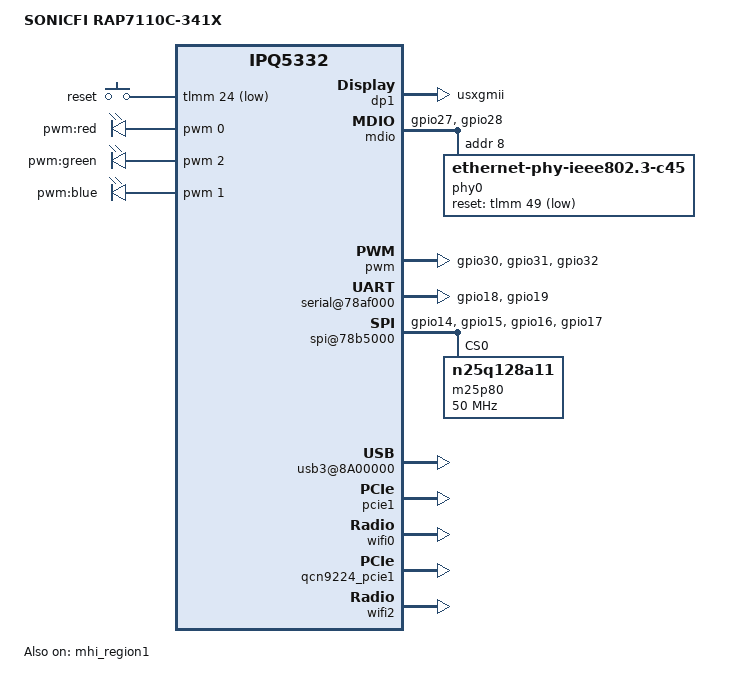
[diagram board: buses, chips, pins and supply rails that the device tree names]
// SPDX-License-Identifier: (GPL-2.0+ OR BSD-3-Clause)
/*
 * IPQ5332 AP-MI01.6 board device tree source
 *
 * Copyright (c) 2020-2021 The Linux Foundation. All rights reserved.
 * Copyright (c) 2022 Qualcomm Innovation Center, Inc. All rights reserved.
 */

/dts-v1/;

#include "ipq5332.dtsi"

#ifdef __IPQ_MEM_PROFILE_512_MB__
#include "ipq5332-512MB-memory.dtsi"
#else
#include "ipq5332-default-memory.dtsi"
#endif

/ {
	#address-cells = <0x2>;
	#size-cells = <0x2>;
	model = "SONICFI RAP7110C-341X";
	compatible = "sonicfi,rap7110c-341x","qcom,ipq5332-ap-mi01.6", "qcom,ipq5332";
	interrupt-parent = <&intc>;

	aliases {
		serial0 = &blsp1_uart0;
		ethernet0 = "/soc/dp1";
		led-boot = &led_power;
	};

	chosen {
		stdout-path = "serial0";
	};

	soc {
		pinctrl@1000000 {
			spi_0_pins: spi0-pinmux {
				spi_clock {
					pins = "gpio14";
					function = "blsp0_spi";
					drive-strength = <2>;
					bias-pull-down;
				};

				spi_mosi {
					pins = "gpio15";
					function = "blsp0_spi";
					drive-strength = <2>;
					bias-pull-down;
				};

				spi_miso {
					pins = "gpio16";
					function = "blsp0_spi";
					drive-strength = <2>;
					bias-pull-down;
				};

				spi_cs {
					pins = "gpio17";
					function = "blsp0_spi";
					drive-strength = <2>;
					bias-pull-up;
				};
			};

			serial_0_pins: serial0-pinmux {
				pins = "gpio18", "gpio19";
				function = "blsp0_uart0";
				drive-strength = <8>;
				bias-pull-up;
			};

			pwm_pins: pwm_pinmux {
/* PWM LED GREEN */
				mux_1 {
					pins = "gpio30";
					function = "pwm1";
					drive-strength = <8>;
				};
/* PWM LED BLUE */
				mux_2 {
					pins = "gpio31";
					function = "pwm1";
					drive-strength = <8>;
				};
/* PWM LED RED */
				mux_3 {
					pins = "gpio32";
					function = "pwm1";
					drive-strength = <8>;
				};
			};

			mdio1_pins: mdio1_pinmux {
				mux_0 {
					pins = "gpio27";
					function = "mdc1";
					drive-strength = <8>;
					bias-disable;
				};
				mux_1 {
					pins = "gpio28";
					function = "mdio1";
					drive-strength = <8>;
					bias-pull-up;
				};
			};

			button_pins: button_pins {
				reset_button {
					pins = "gpio24";
					function = "gpio";
					drive-strength = <8>;
					bias-pull-up;
				};
			};
		};

		dp1 {
			device_type = "network";
			compatible = "qcom,nss-dp";
			qcom,id = <1>;
			reg = <0x3a500000 0x4000>;
			qcom,mactype = <1>;
			local-mac-address = [000000000000];
			qcom,phy-mdio-addr = <8>;
			qcom,link-poll = <1>;
			phy-mode = "usxgmii";
		};

		mdio:mdio@90000 {
			status = "ok";
			pinctrl-0 = <&mdio1_pins >;
			pinctrl-names = "default";
			/*gpio49 for RTL8261 reset*/
			phy-reset-gpio = <&tlmm 49 0>;
			phyaddr_fixup = <0xC90F018>;
			uniphyaddr_fixup = <0xC90F014>;
			mdio_clk_fixup; /* MDIO clock sequence fix up flag */

			phy0: ethernet-phy@0 {
				compatible ="ethernet-phy-ieee802.3-c45";
				reset-gpios = <&tlmm 49 GPIO_ACTIVE_LOW>;
				reg = <8>;
			};
		};

		pwm:pwm {
			compatible = "qti,ipq5332-pwm";
			reg = <0x1941010 0x20>;
			clocks = <&gcc GCC_ADSS_PWM_CLK>;
			clock-names = "core";
			src-freq = <100000000>;
			pwm-base-index = <0>;
			used-pwm-indices = <1>, <1>, <1>, <0>;
			status = "ok";
			pinctrl-0 = <&pwm_pins>;
			pinctrl-names = "default";
			#pwm-cells = <2>;
		};

		ess-instance {
			num_devices = <0x1>;
			ess-switch@3a000000 {
				switch_cpu_bmp = <0x1>;  /* cpu port bitmap */
				switch_lan_bmp = <0x2>; /* lan port bitmap */
				switch_wan_bmp = <0x4>; /* wan port bitmap */
				switch_mac_mode = <0xd>; /* mac mode for uniphy instance0*/
				switch_mac_mode1 = <0xf>; /* mac mode for uniphy instance1*/
				switch_mac_mode2 = <0xff>; /* mac mode for uniphy instance2*/
				qcom,port_phyinfo {
					port@0 {
						port_id = <1>;
						phy_address = <8>;
						mdiobus = <&mdio>;
						ethernet-phy-ieee802.3-c45;
					};
					port@1 {
						port_id = <2>;
						forced-speed = <2500>;
						forced-duplex = <1>;
					};
				};
			};
		};

		/* EDMA host driver configuration for the board */
		edma@3ab00000 {
			qcom,txdesc-ring-start = <4>;		/* Tx desc ring start ID */
			qcom,txdesc-rings = <12>;		/* Total number of Tx desc rings to be provisioned */
			qcom,txcmpl-ring-start = <4>;		/* Tx complete ring start ID */
			qcom,txcmpl-rings = <12>;		/* Total number of Tx complete rings to be provisioned */
			qcom,rxfill-ring-start = <4>;		/* Rx fill ring start ID */
			qcom,rxfill-rings = <4>;		/* Total number of Rx fill rings to be provisioned */
			qcom,rxdesc-ring-start = <12>;		/* Rx desc ring start ID */
			qcom,rxdesc-rings = <4>;		/* Total number of Rx desc rings to be provisioned */
			qcom,rx-page-mode = <0>;		/* Rx fill ring page mode */
			qcom,tx-map-priority-level = <1>;	/* Tx priority level per port */
			qcom,rx-map-priority-level = <1>;	/* Rx priority level per core */
			qcom,ppeds-num = <2>;			/* Number of PPEDS nodes */
			/* PPE-DS node format: <Rx-fill Tx-cmpl Rx Tx Queue-base Queue-count> */
			qcom,ppeds-map = <1 1 1 1 32 8>,	/* PPEDS Node#0 ring and queue map */
					<2 2 2 2 40 8>;		/* PPEDS Node#1 ring and queue map */
			qcom,txdesc-map = <8 9 10 11>,		/* Port0 per-core Tx ring map */
					  <12 13 14 15>,	/* Port1 per-core Tx ring map */
					  <4 5 6 7>;		/* used only for packets from  vp*/
			qcom,txdesc-fc-grp-map = <1 2>;		/* Per GMAC flow control group map */
			qcom,rxfill-map = <4 5 6 7>;		/* Per-core Rx fill ring map */
			qcom,rxdesc-map = <12 13 14 15>;	/* Per-core Rx desc ring map */
			qcom,rx-queue-start = <0>;		/* Rx queue start */
			qcom,rx-ring-queue-map = <0 8 16 24>,	/* Priority 0 queues per-core Rx ring map */
						<1 9 17 25>,	/* Priority 1 queues per-core Rx ring map */
						<2 10 18 26>,	/* Priority 2 queues per-core Rx ring map */
						<3 11 19 27>,	/* Priority 3 queues per-core Rx ring map */
						<4 12 20 28>,	/* Priority 4 queues per-core Rx ring map */
						<5 13 21 29>,	/* Priority 5 queues per-core Rx ring map */
						<6 14 22 30>,	/* Priority 6 queues per-core Rx ring map */
						<7 15 23 31>;	/* Priority 7 queues per-core Rx ring map */
			interrupts = <0 163 4>,			/* Tx complete ring id #4 IRQ info */
				   <0 164 4>,			/* Tx complete ring id #5 IRQ info */
				   <0 165 4>,			/* Tx complete ring id #6 IRQ info */
				   <0 166 4>,			/* Tx complete ring id #7 IRQ info */
				   <0 167 4>,			/* Tx complete ring id #8 IRQ info */
				   <0 168 4>,			/* Tx complete ring id #9 IRQ info */
				   <0 169 4>,			/* Tx complete ring id #10 IRQ info */
				   <0 170 4>,			/* Tx complete ring id #11 IRQ info */
				   <0 171 4>,			/* Tx complete ring id #12 IRQ info */
				   <0 172 4>,			/* Tx complete ring id #13 IRQ info */
				   <0 173 4>,			/* Tx complete ring id #14 IRQ info */
				   <0 174 4>,			/* Tx complete ring id #15 IRQ info */
				   <0 139 4>,			/* Rx desc ring id #12 IRQ info */
				   <0 140 4>,			/* Rx desc ring id #13 IRQ info */
				   <0 141 4>,			/* Rx desc ring id #14 IRQ info */
				   <0 142 4>,			/* Rx desc ring id #15 IRQ info */
				   <0 191 4>,			/* Misc error IRQ info */
				<0 160 4>,			/* PPEDS Node #1(TxComp ring id #1) TxComplete IRQ info */
				<0 128 4>,			/* PPEDS Node #1(Rx Desc ring id #1) Rx Desc IRQ info */
				<0 152 4>,			/* PPEDS Node #1(RxFill Desc ring id #1) Rx Fill IRQ info */
				<0 161 4>,			/* PPEDS Node #2(TxComp ring id #2) TxComplete IRQ info */
				<0 129 4>,			/* PPEDS Node #2(Rx Desc ring id #2) Rx Desc IRQ info */
				<0 153 4>;			/* PPEDS Node #2(RxFill Desc ring id #2) Rx Fill IRQ info */
		};

		serial@78af000 {
			pinctrl-0 = <&serial_0_pins>;
			pinctrl-names = "default";
			status = "ok";
		};
/*
		serial@78b0000 {
			pinctrl-0 = <&serial_1_pins>;
			pinctrl-names = "default";
			status = "disabled";
		};
*/

		spi@78b5000 {
			pinctrl-0 = <&spi_0_pins>;
			pinctrl-names = "default";
			cs-select = <0>;
			status = "ok";

			m25p80@0 {
				compatible = "n25q128a11";
				#address-cells = <1>;
				#size-cells = <1>;
				reg = <0>;
				spi-max-frequency = <50000000>;
			};
		};

		dma@7984000 {
			status = "ok";
		};

		nand: nand@79b0000 {
			pinctrl-0 = <&qspi_nand_pins>;
			pinctrl-names = "default";
			status = "disabled";
		};

		usb3@8A00000 {
			status = "ok";
			qcom,multiplexed-phy;
		};

		ssuniphy_0: ssuniphy@4b0000 {
			status = "ok";
		};

		hs_m31phy_0: hs_m31phy@7b000 {
			status = "ok";
		};

		gpio_keys {
			compatible = "gpio-keys";
			pinctrl-0 = <&button_pins>;
			pinctrl-names = "default";
			button@1 {
				label = "reset";
				linux,code = <KEY_RESTART>;
				gpios = <&tlmm 24 GPIO_ACTIVE_LOW>;
				linux,input-type = <1>;
				debounce-interval = <60>;
			};
		};

		pwmleds {
			compatible = "pwm-leds";

			red {
				label = "pwm:red";
				pwms = <&pwm 0 1250000>;
				max-brightness = <160>;
				linux,default-trigger = "none";
			};

			green {
				label = "pwm:green";
				pwms = <&pwm 2 1250000>;
				max-brightness = <160>;
				linux,default-trigger = "none";
			};

			led_power: blue {
				label = "pwm:blue";
				pwms = <&pwm 1 1250000>;
				max-brightness = <160>;
				linux,default-trigger = "none";
			};
		};

		pcie1_phy_x2: phy_x2@4b1000 {
			status = "ok";
		};

		wsi: wsi {
			id = <0>;
			num_chip = <2>;
		};

		pcie1: pcie@18000000 {
			status = "ok";
			pcie1_rp {
				reg = <0 0 0 0 0>;

				qcom,mhi@1 {
					reg = <0 0 0 0 0>;
					qti,disable-rddm-prealloc;
					qti,rddm-seg-len = <0x1000>;
#if defined(__CNSS2__)
					qrtr_node_id = <0x31>;
					memory-region = <0>, <&mhi_region1>;
#else
					memory-region = <&qcn9224_pcie1>;
					qcom,board_id = <0x1015>;
					qcom,wsi = <&wsi>;
#endif
				};
			};
		};
	};
};

&wifi0 {
	qcom,rproc = <&q6_wcss_pd1>;
	qcom,rproc_rpd = <&q6v5_wcss>;
	qcom,multipd_arch;
	qcom,userpd-subsys-name = "q6v5_wcss_userpd1";
#if defined(__CNSS2__)
	mem-region = <&q6_region>;
#else
	memory-region = <&q6_region>;
	qcom,wsi = <&wsi>;
#endif
	qcom,board_id = <0x12>;
	status = "ok";
};

&mhi_region1 {
	status = "ok";
};

&qcn9224_pcie1 {
	status = "ok";
};

/* QCN9224 5G+6G */
&wifi2 {
	hremote_node = <&qcn9224_pcie1>;
	board_id = <0x1015>;
	status = "ok";
};
